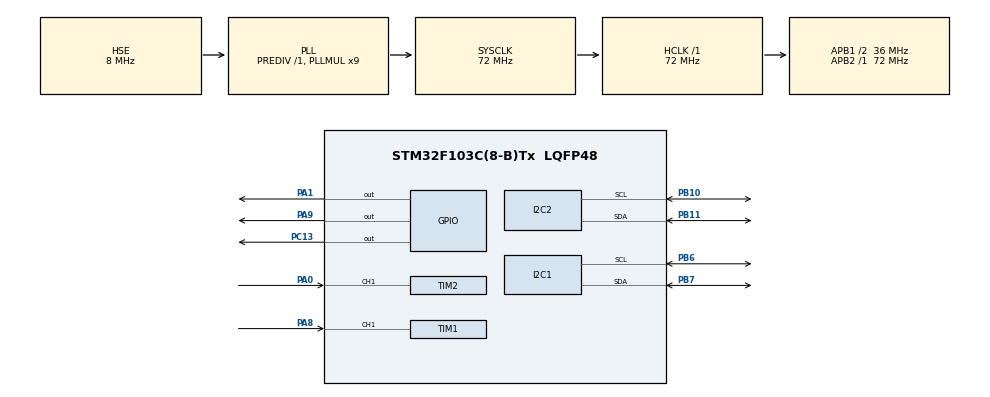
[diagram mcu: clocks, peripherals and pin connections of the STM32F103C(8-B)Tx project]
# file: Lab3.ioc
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Mcu.Family=STM32F1
Mcu.Name=STM32F103C(8-B)Tx
Mcu.Package=LQFP48
NVIC.PriorityGroup=NVIC_PRIORITYGROUP_4
NVIC.TIM1_CC_IRQn=true\:0\:0\:false\:false\:true\:true\:true\:true
NVIC.TIM2_IRQn=true\:0\:0\:false\:false\:true\:true\:true\:true
PA0-WKUP.Signal=S_TIM2_CH1_ETR
PA1.Signal=GPIO_Output
PA13.Mode=Serial_Wire
PA13.Signal=SYS_JTMS-SWDIO
PA14.Mode=Serial_Wire
PA14.Signal=SYS_JTCK-SWCLK
PA8.Signal=S_TIM1_CH1
PA9.Signal=GPIO_Output
PB10.Mode=I2C
PB10.Signal=I2C2_SCL
PB11.Mode=I2C
PB11.Signal=I2C2_SDA
PB6.Mode=I2C
PB6.Signal=I2C1_SCL
PB7.Mode=I2C
PB7.Signal=I2C1_SDA
PC13-TAMPER-RTC.Signal=GPIO_Output
PD0-OSC_IN.Mode=HSE-External-Oscillator
PD0-OSC_IN.Signal=RCC_OSC_IN
PD1-OSC_OUT.Mode=HSE-External-Oscillator
PD1-OSC_OUT.Signal=RCC_OSC_OUT
ProjectManager.HeapSize=0x200
ProjectManager.StackSize=0x400
ProjectManager.TargetToolchain=STM32CubeIDE
RCC.AHBFreq_Value=72000000
RCC.APB1CLKDivider=RCC_HCLK_DIV2
RCC.APB1Freq_Value=36000000
RCC.APB1TimFreq_Value=72000000
RCC.APB2Freq_Value=72000000
RCC.APB2TimFreq_Value=72000000
RCC.HCLKFreq_Value=72000000
RCC.PLLMUL=RCC_PLL_MUL9
RCC.PLLSourceVirtual=RCC_PLLSOURCE_HSE
RCC.SYSCLKFreq_VALUE=72000000
RCC.SYSCLKSource=RCC_SYSCLKSOURCE_PLLCLK
RCC.USBFreq_Value=72000000
SH.S_TIM1_CH1.0=TIM1_CH1,Input_Capture1_from_TI1
SH.S_TIM2_CH1_ETR.0=TIM2_CH1,Input_Capture1_from_TI1
TIM1.Channel-Input_Capture1_from_TI1=TIM_CHANNEL_1
TIM1.Prescaler=71
TIM2.Channel-Input_Capture1_from_TI1=TIM_CHANNEL_1
TIM2.Prescaler=71
VP_TIM1_VS_ClockSourceINT.Mode=Internal
board=custom

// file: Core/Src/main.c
/* USER CODE BEGIN Header */
/**
  ******************************************************************************
  * @file           : main.c
  * @brief          : Main program body
  ******************************************************************************
  * @attention
  *
  * Copyright (c) 2024 STMicroelectronics.
  * All rights reserved.
  *
  * This software is licensed under terms that can be found in the LICENSE file
  * in the root directory of this software component.
  * If no LICENSE file comes with this software, it is provided AS-IS.
  *
  ******************************************************************************
  */
/* USER CODE END Header */
#include "main.h"

/* USER CODE BEGIN Includes */
#include "bh1750.h"
#include "i2c-lcd.h"
#include "stdio.h"
#include <string.h>
/* USER CODE END Includes */

I2C_HandleTypeDef hi2c1;
I2C_HandleTypeDef hi2c2;

TIM_HandleTypeDef htim1;
TIM_HandleTypeDef htim2;

void SystemClock_Config(void);
static void MX_GPIO_Init(void);
static void MX_TIM1_Init(void);
static void MX_TIM2_Init(void);
static void MX_I2C1_Init(void);
static void MX_I2C2_Init(void);

/* USER CODE BEGIN 0 */

uint32_t npeople = 0;
uint32_t outdist = 50; // use to check people detect (distance)
char wait_queue [3];
uint32_t timeoutcounter=0;

uint32_t IC_Val1_1 = 0;
uint32_t IC_Val2_1 = 0;
uint32_t Difference_1 = 0;
uint8_t Is_First_Captured_1 = 0;
uint8_t Distance_1 = 0;

uint32_t IC_Val1_2 = 0;
uint32_t IC_Val2_2 = 0;
uint32_t Difference_2 = 0;
uint8_t Is_First_Captured_2 = 0;
uint8_t Distance_2 = 0;
char lcdBuffer [100];
// hcsr04 ngoài
#define TRIG_PIN_1 GPIO_PIN_1
#define TRIG_PORT_1 GPIOA
// hcsr04 trong
#define TRIG_PIN_2 GPIO_PIN_9
#define TRIG_PORT_2 GPIOA

// for lcd lab 1
int row=0;
int col=0;
int value_lux = 0;
char word [100];

void delay (uint16_t time){
	__HAL_TIM_SET_COUNTER(&htim1, 0);
	while (__HAL_TIM_GET_COUNTER(&htim1) < time);
}

// Callback function
void HAL_TIM_IC_CaptureCallback(TIM_HandleTypeDef *htim) {
    if (htim->Instance == TIM1) // if the interrupt source is channel1
    {
        if (Is_First_Captured_1 == 0)
        {// if the first value is not captured
            IC_Val1_1 = HAL_TIM_ReadCapturedValue(htim, TIM_CHANNEL_1); // read the first value
            Is_First_Captured_1 = 1;// set the first captured as true

			// Now change the polarity to falling edge
            __HAL_TIM_SET_CAPTUREPOLARITY(htim, TIM_CHANNEL_1, TIM_INPUTCHANNELPOLARITY_FALLING);
        } else {
            IC_Val2_1 = HAL_TIM_ReadCapturedValue(htim, TIM_CHANNEL_1);

            if (IC_Val2_1 > IC_Val1_1) {
                Difference_1 = IC_Val2_1 - IC_Val1_1;
            }else
            {
                Difference_1 = (0xffff - IC_Val1_1) + IC_Val2_1;
            }

            Distance_1 = Difference_1 * 0.032 / 2;
            Is_First_Captured_1 = 0; //set it back to call

            // set polarity to rising edge
            __HAL_TIM_SET_CAPTUREPOLARITY(htim, TIM_CHANNEL_1, TIM_INPUTCHANNELPOLARITY_RISING);
            __HAL_TIM_DISABLE_IT(&htim1, TIM_IT_CC1);
        }
    }

    if (htim->Instance == TIM2)
    {  // TIM2
        if (Is_First_Captured_2 == 0)
        {
            IC_Val1_2 = HAL_TIM_ReadCapturedValue(htim, TIM_CHANNEL_1); // read the first value
            Is_First_Captured_2 = 1; // set the first captured as true

            // Now change the polarity to falling edge
            __HAL_TIM_SET_CAPTUREPOLARITY(htim, TIM_CHANNEL_1, TIM_INPUTCHANNELPOLARITY_FALLING);
        } else {
            IC_Val2_2 = HAL_TIM_ReadCapturedValue(htim, TIM_CHANNEL_1);

            if (IC_Val2_2 > IC_Val1_2) {
                Difference_2 = IC_Val2_2 - IC_Val1_2;
            } else {
                Difference_2 = (0xffff - IC_Val1_2) + IC_Val2_2;
            }

            Distance_2 = Difference_2 * 0.032 / 2;
            Is_First_Captured_2 = 0;//set it back to call

            // set polarity to rising edge
            __HAL_TIM_SET_CAPTUREPOLARITY(htim, TIM_CHANNEL_1, TIM_INPUTCHANNELPOLARITY_RISING);
            __HAL_TIM_DISABLE_IT(&htim2, TIM_IT_CC1);
        }
    }
}

// Check number of people in room
//void CheckRoomState(void) {
//	char temp[1];
//
//    if (Distance_1 <  outdist && wait_queue[0] != '1') {
//    	 temp[0] = '1';
//    	 //temp[1] = '\0';
//    	 strcat(wait_queue, temp);
//    } else if (Distance_2 < outdist && wait_queue[0] != '2') {
//    	 temp[0] = '1';
//    	 //temp[1] = '\0';
//    	 strcat(wait_queue, temp);
//    }
//
//    if (strcmp(wait_queue, "12") == 0) {
//        npeople++;
//        memset(wait_queue, '\0', sizeof(wait_queue));
//        HAL_Delay(550);
//    } else if (strcmp(wait_queue, "21") == 0 && npeople > 0) {
//        npeople--;
//        memset(wait_queue, '\0', sizeof(wait_queue));
//        HAL_Delay(550);
//    }
//    // Reset queue if length is greater than 2, or if queue is "11" or "22", or if timeout counter exceeds the threshold
//        if (strlen(wait_queue) > 2 || strcmp(wait_queue, "11") == 0 || strcmp(wait_queue, "22") == 0 || timeoutcounter > 200) {
//            memset(wait_queue, '\0', sizeof(wait_queue));
//        }
//
//        // Increment or reset the timeout counter based on the length of the queue
//        if (strlen(wait_queue) == 1) {
//            timeoutcounter++;
//        } else {
//            timeoutcounter = 0;
//        }
//
////    if (npeople == 0) {
////        HAL_GPIO_WritePin(LED_PORT, LED_PIN, GPIO_PIN_RESET);  // Tắt LED nếu không có ngư�?i
////    } else {
////        HAL_GPIO_WritePin(LED_PORT, LED_PIN, GPIO_PIN_SET);  // Bật LED nếu có ngư�?i
////    }
//}

void CheckRoomState(void) {
    if (Distance_1 < outdist && wait_queue[0] != '1') {
        wait_queue[strlen(wait_queue)] = '1'; // Append '1'
        wait_queue[strlen(wait_queue)] = '\0'; // Null-terminate
    } else if (Distance_2 < outdist && wait_queue[0] != '2') {
        wait_queue[strlen(wait_queue)] = '2'; // Append '2'
        wait_queue[strlen(wait_queue)] = '\0'; // Null-terminate
    }

    if (strcmp(wait_queue, "12") == 0) {
        npeople++;
        memset(wait_queue, '\0', sizeof(wait_queue)); // Clear queue
        HAL_Delay(550);
    } else if (strcmp(wait_queue, "21") == 0 && npeople > 0) {
        npeople--;
        memset(wait_queue, '\0', sizeof(wait_queue)); // Clear queue
        HAL_Delay(550);
    }

    if (strlen(wait_queue) > 2 || strcmp(wait_queue, "11") == 0 || strcmp(wait_queue, "22") == 0 || timeoutcounter > 200) {
        memset(wait_queue, '\0', sizeof(wait_queue)); // Clear queue
        timeoutcounter = 0; // Reset timeout counter
    } else {
        if (strlen(wait_queue) == 1) {
            timeoutcounter++;
        } else {
            timeoutcounter = 0; // Reset if queue length is not 1
        }
    }
}

void HCSR04_Read_1 (void) {
    HAL_GPIO_WritePin(TRIG_PORT_1, TRIG_PIN_1, GPIO_PIN_SET); // pull the TRIG pin HIGH
    delay(10); // wait 10us
    HAL_GPIO_WritePin(TRIG_PORT_1, TRIG_PIN_1, GPIO_PIN_RESET); // pull the TRIG in LOW

    __HAL_TIM_ENABLE_IT(&htim1, TIM_IT_CC1);
}

void HCSR04_Read_2 (void) {
    HAL_GPIO_WritePin(TRIG_PORT_2, TRIG_PIN_2, GPIO_PIN_SET); // pull the TRIG pin HIGH
    delay(10); // wait 10us
    HAL_GPIO_WritePin(TRIG_PORT_2, TRIG_PIN_2, GPIO_PIN_RESET); // pull the TRIG in LOW

    __HAL_TIM_ENABLE_IT(&htim2, TIM_IT_CC1);
}

/* USER CODE END 0 */

int main(void)
{

  /* MCU Configuration--------------------------------------------------------*/

  /* Reset of all peripherals, Initializes the Flash interface and the Systick. */
  HAL_Init();

  /* Configure the system clock */
  SystemClock_Config();

  /* Initialize all configured peripherals */
  MX_GPIO_Init();
  MX_TIM1_Init();
  MX_TIM2_Init();
  MX_I2C1_Init();
  MX_I2C2_Init();
  /* USER CODE BEGIN 2 */
  /*--------BH1750--------*/
  	BH1750_Init();
  	BH1750_Start();
  	HAL_Delay(500);

    /*--------LCD--------*/
  lcd_init();
  HAL_TIM_IC_Start_IT(&htim1, TIM_CHANNEL_1);
  HAL_TIM_IC_Start_IT(&htim2, TIM_CHANNEL_1);

  /* USER CODE END 2 */

  /* Infinite loop */
  while (1)
  {

    /* USER CODE BEGIN 3 */

	  HCSR04_Read_1();
	  HCSR04_Read_2();
//	  HAL_Delay(200);
	  CheckRoomState();
	  HAL_Delay(200);
	  value_lux = BH1750_Read();
	  if(value_lux <51)
	  {
	 	  HAL_GPIO_WritePin(GPIOC, GPIO_PIN_13, GPIO_PIN_SET);
	  }
	  else
	  {
	 	  HAL_GPIO_WritePin(GPIOC, GPIO_PIN_13, GPIO_PIN_RESET);
	  }

	  lcd_put_cur(0, 0);
	  sprintf (lcdBuffer, "People: %02d ", npeople);
	  lcd_send_string(lcdBuffer);
	  memset(lcdBuffer, '\0', 50);
	  lcd_put_cur(1, 0);
	  sprintf(word, "Lux Value: %03d", value_lux);
	  lcd_send_string(word);
	  memset(word, '\0', 50);

  }
  /* USER CODE END 3 */
}

void SystemClock_Config(void)
{
  RCC_OscInitTypeDef RCC_OscInitStruct = {0};
  RCC_ClkInitTypeDef RCC_ClkInitStruct = {0};

  /** Initializes the RCC Oscillators according to the specified parameters
  * in the RCC_OscInitTypeDef structure.
  */
  RCC_OscInitStruct.OscillatorType = RCC_OSCILLATORTYPE_HSE;
  RCC_OscInitStruct.HSEState = RCC_HSE_ON;
  RCC_OscInitStruct.HSEPredivValue = RCC_HSE_PREDIV_DIV1;
  RCC_OscInitStruct.HSIState = RCC_HSI_ON;
  RCC_OscInitStruct.PLL.PLLState = RCC_PLL_ON;
  RCC_OscInitStruct.PLL.PLLSource = RCC_PLLSOURCE_HSE;
  RCC_OscInitStruct.PLL.PLLMUL = RCC_PLL_MUL9;
  if (HAL_RCC_OscConfig(&RCC_OscInitStruct) != HAL_OK)
  {
    Error_Handler();
  }

  /** Initializes the CPU, AHB and APB buses clocks
  */
  RCC_ClkInitStruct.ClockType = RCC_CLOCKTYPE_HCLK|RCC_CLOCKTYPE_SYSCLK
                              |RCC_CLOCKTYPE_PCLK1|RCC_CLOCKTYPE_PCLK2;
  RCC_ClkInitStruct.SYSCLKSource = RCC_SYSCLKSOURCE_PLLCLK;
  RCC_ClkInitStruct.AHBCLKDivider = RCC_SYSCLK_DIV1;
  RCC_ClkInitStruct.APB1CLKDivider = RCC_HCLK_DIV2;
  RCC_ClkInitStruct.APB2CLKDivider = RCC_HCLK_DIV1;

  if (HAL_RCC_ClockConfig(&RCC_ClkInitStruct, FLASH_LATENCY_2) != HAL_OK)
  {
    Error_Handler();
  }
}

static void MX_I2C1_Init(void)
{

  hi2c1.Instance = I2C1;
  hi2c1.Init.ClockSpeed = 100000;
  hi2c1.Init.DutyCycle = I2C_DUTYCYCLE_2;
  hi2c1.Init.OwnAddress1 = 0;
  hi2c1.Init.AddressingMode = I2C_ADDRESSINGMODE_7BIT;
  hi2c1.Init.DualAddressMode = I2C_DUALADDRESS_DISABLE;
  hi2c1.Init.OwnAddress2 = 0;
  hi2c1.Init.GeneralCallMode = I2C_GENERALCALL_DISABLE;
  hi2c1.Init.NoStretchMode = I2C_NOSTRETCH_DISABLE;
  if (HAL_I2C_Init(&hi2c1) != HAL_OK)
  {
    Error_Handler();
  }

}

static void MX_I2C2_Init(void)
{

  hi2c2.Instance = I2C2;
  hi2c2.Init.ClockSpeed = 100000;
  hi2c2.Init.DutyCycle = I2C_DUTYCYCLE_2;
  hi2c2.Init.OwnAddress1 = 0;
  hi2c2.Init.AddressingMode = I2C_ADDRESSINGMODE_7BIT;
  hi2c2.Init.DualAddressMode = I2C_DUALADDRESS_DISABLE;
  hi2c2.Init.OwnAddress2 = 0;
  hi2c2.Init.GeneralCallMode = I2C_GENERALCALL_DISABLE;
  hi2c2.Init.NoStretchMode = I2C_NOSTRETCH_DISABLE;
  if (HAL_I2C_Init(&hi2c2) != HAL_OK)
  {
    Error_Handler();
  }

}

static void MX_TIM1_Init(void)
{

  TIM_ClockConfigTypeDef sClockSourceConfig = {0};
  TIM_MasterConfigTypeDef sMasterConfig = {0};
  TIM_IC_InitTypeDef sConfigIC = {0};

  htim1.Instance = TIM1;
  htim1.Init.Prescaler = 71;
  htim1.Init.CounterMode = TIM_COUNTERMODE_UP;
  htim1.Init.Period = 65535;
  htim1.Init.ClockDivision = TIM_CLOCKDIVISION_DIV1;
  htim1.Init.RepetitionCounter = 0;
  htim1.Init.AutoReloadPreload = TIM_AUTORELOAD_PRELOAD_DISABLE;
  if (HAL_TIM_Base_Init(&htim1) != HAL_OK)
  {
    Error_Handler();
  }
  sClockSourceConfig.ClockSource = TIM_CLOCKSOURCE_INTERNAL;
  if (HAL_TIM_ConfigClockSource(&htim1, &sClockSourceConfig) != HAL_OK)
  {
    Error_Handler();
  }
  if (HAL_TIM_IC_Init(&htim1) != HAL_OK)
  {
    Error_Handler();
  }
  sMasterConfig.MasterOutputTrigger = TIM_TRGO_RESET;
  sMasterConfig.MasterSlaveMode = TIM_MASTERSLAVEMODE_DISABLE;
  if (HAL_TIMEx_MasterConfigSynchronization(&htim1, &sMasterConfig) != HAL_OK)
  {
    Error_Handler();
  }
  sConfigIC.ICPolarity = TIM_INPUTCHANNELPOLARITY_RISING;
  sConfigIC.ICSelection = TIM_ICSELECTION_DIRECTTI;
  sConfigIC.ICPrescaler = TIM_ICPSC_DIV1;
  sConfigIC.ICFilter = 0;
  if (HAL_TIM_IC_ConfigChannel(&htim1, &sConfigIC, TIM_CHANNEL_1) != HAL_OK)
  {
    Error_Handler();
  }

}

static void MX_TIM2_Init(void)
{

  TIM_MasterConfigTypeDef sMasterConfig = {0};
  TIM_IC_InitTypeDef sConfigIC = {0};

  htim2.Instance = TIM2;
  htim2.Init.Prescaler = 71;
  htim2.Init.CounterMode = TIM_COUNTERMODE_UP;
  htim2.Init.Period = 65535;
  htim2.Init.ClockDivision = TIM_CLOCKDIVISION_DIV1;
  htim2.Init.AutoReloadPreload = TIM_AUTORELOAD_PRELOAD_DISABLE;
  if (HAL_TIM_IC_Init(&htim2) != HAL_OK)
  {
    Error_Handler();
  }
  sMasterConfig.MasterOutputTrigger = TIM_TRGO_RESET;
  sMasterConfig.MasterSlaveMode = TIM_MASTERSLAVEMODE_DISABLE;
  if (HAL_TIMEx_MasterConfigSynchronization(&htim2, &sMasterConfig) != HAL_OK)
  {
    Error_Handler();
  }
  sConfigIC.ICPolarity = TIM_INPUTCHANNELPOLARITY_RISING;
  sConfigIC.ICSelection = TIM_ICSELECTION_DIRECTTI;
  sConfigIC.ICPrescaler = TIM_ICPSC_DIV1;
  sConfigIC.ICFilter = 0;
  if (HAL_TIM_IC_ConfigChannel(&htim2, &sConfigIC, TIM_CHANNEL_1) != HAL_OK)
  {
    Error_Handler();
  }

}

static void MX_GPIO_Init(void)
{
  GPIO_InitTypeDef GPIO_InitStruct = {0};

  /* GPIO Ports Clock Enable */
  __HAL_RCC_GPIOC_CLK_ENABLE();
  __HAL_RCC_GPIOD_CLK_ENABLE();
  __HAL_RCC_GPIOA_CLK_ENABLE();
  __HAL_RCC_GPIOB_CLK_ENABLE();

  /*Configure GPIO pin Output Level */
  HAL_GPIO_WritePin(GPIOC, GPIO_PIN_13, GPIO_PIN_RESET);

  /*Configure GPIO pin Output Level */
  HAL_GPIO_WritePin(GPIOA, GPIO_PIN_1|GPIO_PIN_9, GPIO_PIN_RESET);

  /*Configure GPIO pin : PC13 */
  GPIO_InitStruct.Pin = GPIO_PIN_13;
  GPIO_InitStruct.Mode = GPIO_MODE_OUTPUT_PP;
  GPIO_InitStruct.Pull = GPIO_NOPULL;
  GPIO_InitStruct.Speed = GPIO_SPEED_FREQ_LOW;
  HAL_GPIO_Init(GPIOC, &GPIO_InitStruct);

  /*Configure GPIO pins : PA1 PA9 */
  GPIO_InitStruct.Pin = GPIO_PIN_1|GPIO_PIN_9;
  GPIO_InitStruct.Mode = GPIO_MODE_OUTPUT_PP;
  GPIO_InitStruct.Pull = GPIO_NOPULL;
  GPIO_InitStruct.Speed = GPIO_SPEED_FREQ_LOW;
  HAL_GPIO_Init(GPIOA, &GPIO_InitStruct);

}

void Error_Handler(void)
{
  __disable_irq();
  while (1)
  {
  }
}
